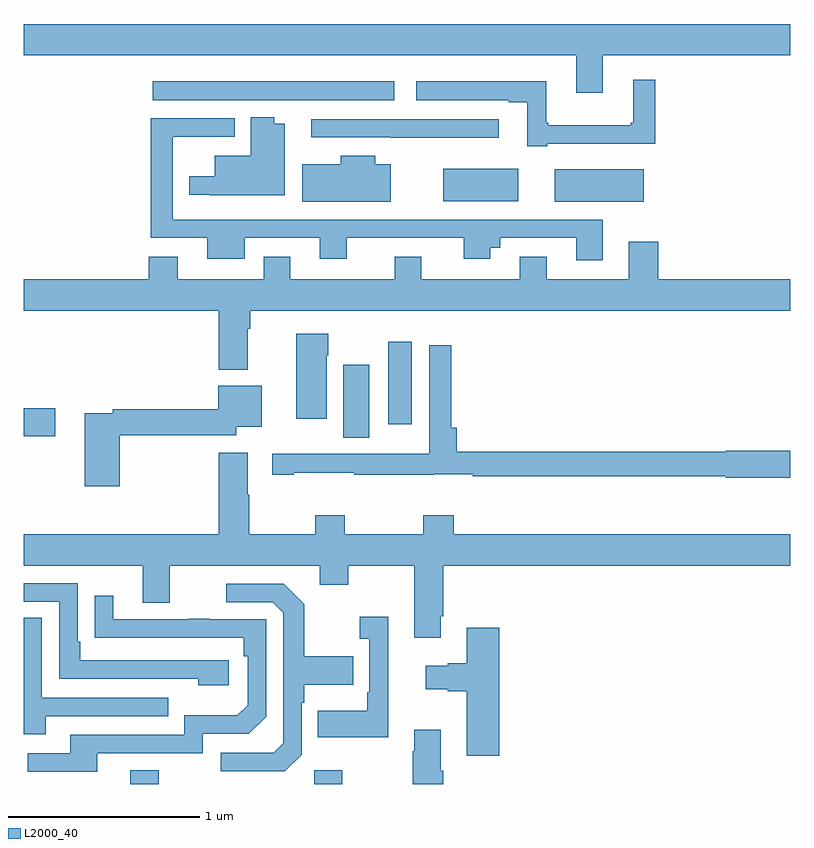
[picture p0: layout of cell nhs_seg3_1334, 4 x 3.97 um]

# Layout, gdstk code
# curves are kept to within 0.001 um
import gdstk
lib = gdstk.Library(unit=1e-6, precision=1e-09)
def R(c, l, rs):  # rectangles x0, y0, x1, y1
    for r in rs: c.add(gdstk.rectangle(r[:2], r[2:], *l))
def P(c, l, *ps):  # polygons
    for p in ps: c.add(gdstk.Polygon(p, *l))
L2000_40 = (2000, 40)

nhs_seg3_1334 = lib.new_cell('nhs_seg3_1334')
R(nhs_seg3_1334, L2000_40, [(179.555,742.4,179.703,742.471), (180.516,742.4,180.663,742.471), (180.668,744.208,180.802,744.589), (179,744.215,179.164,744.362), (180.902,744.279,181.024,744.709), (181.772,745.439,182.236,745.609), (181.19,745.442,181.582,745.612), (179.673,745.971,180.934,746.068)])
P(nhs_seg3_1334, L2000_40, [(182.023,746.204),(183,746.204),(183,746.368),(179,746.368),(179,746.204),(181.883,746.204),(181.883,746.01),(182.023,746.01)],
  [(181.732,745.742),(182.297,745.742),(182.297,746.077),(182.18,746.077),(182.18,745.852),(182.169,745.852),(182.169,745.84),(181.738,745.84),(181.738,745.852),(181.726,745.852),(181.726,746.068),(181.047,746.068),(181.047,745.971),(181.532,745.971),(181.532,745.959),(181.628,745.959),(181.628,745.731),(181.732,745.731)],
  [(180.361,745.846),(180.307,745.846),(180.307,745.882),(180.185,745.882),(180.185,745.681),(179.996,745.681),(179.996,745.574),(179.863,745.574),(179.863,745.477),(179.971,745.477),(179.971,745.475),(180.361,745.475)],
  [(182.023,745.347),(179.778,745.347),(179.778,745.778),(179.78,745.778),(179.78,745.779),(180.1,745.779),(180.1,745.875),(179.662,745.875),(179.662,745.251),(179.957,745.251),(179.957,745.142),(180.154,745.142),(180.154,745.251),(180.545,745.251),(180.545,745.142),(180.685,745.142),(180.685,745.251),(181.295,745.251),(181.295,745.142),(181.435,745.142),(181.435,745.199),(181.486,745.199),(181.486,745.251),(181.883,745.251),(181.883,745.134),(182.023,745.134)],
  [(181.48,745.872),(180.501,745.872),(180.501,745.776),(180.916,745.776),(180.916,745.775),(181.48,745.775)],
  [(180.916,745.636),(180.833,745.636),(180.833,745.681),(180.655,745.681),(180.655,745.636),(180.452,745.636),(180.452,745.439),(180.916,745.439)],
  [(179.803,745.153),(179.651,745.153),(179.651,745.036),(179,745.036),(179,744.872),(180.017,744.872),(180.017,744.563),(180.169,744.563),(180.169,744.776),(180.182,744.776),(180.182,744.872),(183,744.872),(183,745.036),(182.312,745.036),(182.312,745.231),(182.159,745.231),(182.159,745.036),(181.729,745.036),(181.729,745.153),(181.589,745.153),(181.589,745.036),(181.075,745.036),(181.075,745.153),(180.935,745.153),(180.935,745.036),(180.391,745.036),(180.391,745.153),(180.251,745.153),(180.251,745.036),(179.803,745.036)],
  [(180.58,744.638),(180.588,744.638),(180.588,744.751),(180.422,744.751),(180.422,744.306),(180.58,744.306)],
  [(183,744.14),(182.664,744.14),(182.664,744.134),(181.259,744.134),(181.259,744.259),(181.232,744.259),(181.232,744.691),(181.116,744.691),(181.116,744.124),(180.906,744.124),(180.906,744.123),(180.572,744.123),(180.572,744.125),(180.297,744.125),(180.297,744.015),(180.409,744.015),(180.409,744.025),(180.725,744.025),(180.725,744.015),(181.14,744.015),(181.14,744.017),(181.342,744.017),(181.342,744.006),(182.664,744.006),(182.664,743.998),(183,743.998)],
  [(179.501,744.22),(180.108,744.22),(180.108,744.266),(180.241,744.266),(180.241,744.478),(180.014,744.478),(180.014,744.356),(179.464,744.356),(179.464,744.336),(179.318,744.336),(179.318,743.955),(179.501,743.955)],
  [(181.177,743.275),(181.19,743.275),(181.19,743.54),(183,743.54),(183,743.704),(181.244,743.704),(181.244,743.803),(181.084,743.803),(181.084,743.704),(180.675,743.704),(180.675,743.803),(180.52,743.803),(180.52,743.704),(180.177,743.704),(180.177,743.909),(180.169,743.909),(180.169,744.13),(180.017,744.13),(180.017,743.704),(179,743.704),(179,743.54),(179.621,743.54),(179.621,743.346),(179.761,743.346),(179.761,743.54),(180.545,743.54),(180.545,743.441),(180.693,743.441),(180.693,743.54),(181.037,743.54),(181.037,743.163),(181.177,743.163)],
  [(180.07,743.046),(179.293,743.046),(179.293,743.143),(179.28,743.143),(179.28,743.448),(179,743.448),(179,743.352),(179.184,743.352),(179.184,742.95),(179.909,742.95),(179.909,742.916),(180.07,742.916)],
  [(180.45,742.554),(180.45,742.823),(180.463,742.823),(180.463,742.919),(180.719,742.919),(180.719,743.067),(180.463,743.067),(180.463,743.339),(180.357,743.445),(180.057,743.445),(180.057,743.349),(180.3,743.349),(180.354,743.295),(180.354,742.614),(180.303,742.563),(180.027,742.563),(180.027,742.467),(180.363,742.467)],
  [(179.383,742.56),(179.934,742.56),(179.934,742.662),(180.174,742.662),(180.264,742.752),(180.264,743.259),(179.969,743.259),(179.969,743.264),(179.857,743.264),(179.857,743.259),(179.467,743.259),(179.467,743.383),(179.371,743.383),(179.371,743.164),(180.148,743.163),(180.148,743.066),(180.168,743.066),(180.168,742.812),(180.115,742.759),(179.838,742.759),(179.838,742.656),(179.243,742.656),(179.243,742.56),(179.019,742.56),(179.019,742.464),(179.383,742.464)],
  [(180.902,743.272),(180.753,743.272),(180.753,743.159),(180.804,743.159),(180.804,742.879),(180.792,742.879),(180.792,742.783),(180.535,742.783),(180.535,742.643),(180.902,742.643)],
  [(179.113,742.755),(179.753,742.755),(179.753,742.851),(179.094,742.851),(179.094,743.267),(179,743.267),(179,742.661),(179.113,742.661)],
  [(181.481,743.215),(181.313,743.215),(181.313,743.03),(181.214,743.03),(181.214,743.017),(181.098,743.017),(181.098,742.895),(181.214,742.895),(181.214,742.883),(181.313,742.883),(181.313,742.548),(181.481,742.548)],
  [(181.19,742.468),(181.177,742.468),(181.177,742.684),(181.037,742.684),(181.037,742.571),(181.03,742.571),(181.03,742.4),(181.19,742.4)])

lib.write_gds('nhs_seg3_1334.gds')
